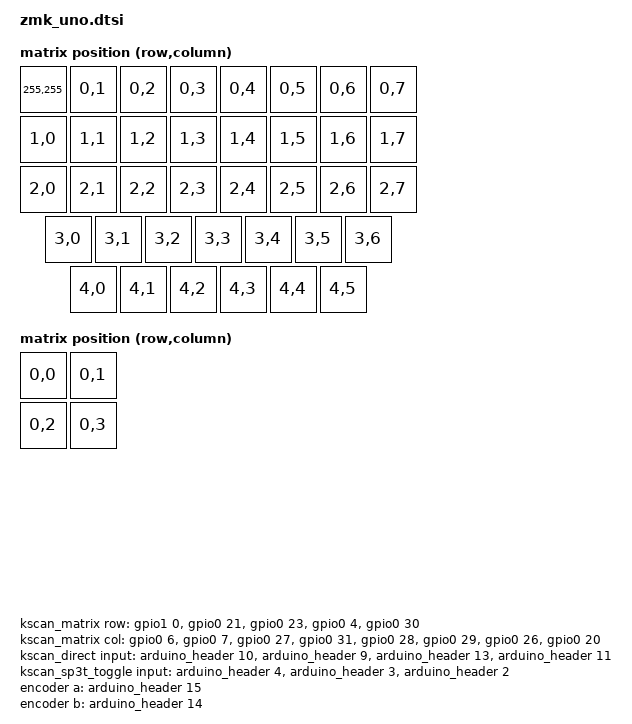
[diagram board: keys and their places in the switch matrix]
/*
 * Copyright (c) 2022 The ZMK Contributors
 *
 * SPDX-License-Identifier: MIT
 */

#include <dt-bindings/led/led.h>
#include <dt-bindings/zmk/matrix_transform.h>
#include "zmk_uno-layouts.dtsi"


&arduino_i2c {
    status = "okay";
};

nice_view_spi: &arduino_spi {
    status = "okay";

    cs-gpios = <&arduino_header 16 GPIO_ACTIVE_HIGH>;

    // Needed so the nice_view shield will enhance the existing node which falls *first*
    // on the bus, properly picking up the first `cs-gpios` specifier.
    ls0xx@0 {
        reg = <0>;
    };

    led_strip: ws2812@0 {
        compatible = "worldsemi,ws2812-spi";

        /* SPI */
        reg = <0>; /* ignored, but necessary for SPI bindings */
        spi-max-frequency = <4000000>;

        /* WS2812 */
        chain-length = <7>; /* 4 underglow + 3 per-key LEDs */
        spi-one-frame = <0x70>;
        spi-zero-frame = <0x40>;

        color-mapping = <LED_COLOR_ID_GREEN LED_COLOR_ID_RED LED_COLOR_ID_BLUE>;
    };
};

/ {
    chosen {
        zmk,backlight = &backlight;
        zmk,underglow = &led_strip;
    };

    // Commented out until we add more powerful power domain support
    // external_power {
        //  compatible = "zmk,ext-power-generic";
        //  init-delay-ms = <200>;
        //  control-gpios = <&arduino_header 1 GPIO_ACTIVE_LOW>;
    // };

    rgb_power {
        compatible = "zmk,ext-power-generic";
        init-delay-ms = <200>;
        control-gpios = <&arduino_header 1 GPIO_ACTIVE_LOW>;
    };

    backlight: gpioleds {
        compatible = "gpio-leds";
        gpio_led_0 {
            gpios = <&arduino_header 12 GPIO_ACTIVE_HIGH>;
        };
    };

    matrix_transform: matrix_transform {
        compatible = "zmk,matrix-transform";
        columns = <8>;
        rows = <5>;
        map = <
        RC(255,255) RC(0,1) RC(0,2) RC(0,3) RC(0,4) RC(0,5) RC(0,6) RC(0,7) 
        RC(1,0) RC(1,1) RC(1,2) RC(1,3) RC(1,4) RC(1,5) RC(1,6) RC(1,7) 
        RC(2,0) RC(2,1) RC(2,2) RC(2,3) RC(2,4) RC(2,5) RC(2,6) RC(2,7) 
        RC(3,0) RC(3,1) RC(3,2) RC(3,3) RC(3,4) RC(3,5) RC(3,6)
        RC(4,0) RC(4,1) RC(4,2) RC(4,3) RC(4,4) RC(4,5) 
        >;
        };

    direct_matrix_transform: direct_matrix_transform {
        compatible = "zmk,matrix-transform";
        rows = <3>;
        columns = <4>;

        map = <
        RC(0,0) RC(0,1)
        RC(0,2) RC(0,3)
        >;
    };

    // kscan_matrix: kscan_matrix {
    //     compatible = "zmk,kscan-gpio-matrix";
    //     wakeup-source;

    //     diode-direction = "col2row";

    //     row-gpios
    //         = <&gpio0 6  (GPIO_ACTIVE_HIGH | GPIO_PULL_DOWN)>
    //         , <&gpio0 7  (GPIO_ACTIVE_HIGH | GPIO_PULL_DOWN)>
    //         , <&gpio0 27 (GPIO_ACTIVE_HIGH | GPIO_PULL_DOWN)>
    //         , <&gpio0 31 (GPIO_ACTIVE_HIGH | GPIO_PULL_DOWN)>
    //         , <&gpio0 28 (GPIO_ACTIVE_HIGH | GPIO_PULL_DOWN)>
    //         , <&gpio0 29 (GPIO_ACTIVE_HIGH | GPIO_PULL_DOWN)>
    //         , <&gpio0 26 (GPIO_ACTIVE_HIGH | GPIO_PULL_DOWN)>
    //         , <&gpio0 20 (GPIO_ACTIVE_HIGH | GPIO_PULL_DOWN)>
    //         ;

    //     col-gpios
    //         = <&gpio1 0  (GPIO_ACTIVE_HIGH)>
    //         , <&gpio0 21 (GPIO_ACTIVE_HIGH)>
    //         , <&gpio0 23 (GPIO_ACTIVE_HIGH)>
    //         , <&gpio0 4  (GPIO_ACTIVE_HIGH)>
    //         , <&gpio0 30 (GPIO_ACTIVE_HIGH)>
    //         ;

    // };
        kscan_matrix: kscan_matrix {
        compatible = "zmk,kscan-gpio-matrix";
        wakeup-source;

        diode-direction = "row2col";

        col-gpios
            = <&gpio0 6  (GPIO_ACTIVE_HIGH | GPIO_PULL_DOWN)>
            , <&gpio0 7  (GPIO_ACTIVE_HIGH | GPIO_PULL_DOWN)>
            , <&gpio0 27 (GPIO_ACTIVE_HIGH | GPIO_PULL_DOWN)>
            , <&gpio0 31 (GPIO_ACTIVE_HIGH | GPIO_PULL_DOWN)>
            , <&gpio0 28 (GPIO_ACTIVE_HIGH | GPIO_PULL_DOWN)>
            , <&gpio0 29 (GPIO_ACTIVE_HIGH | GPIO_PULL_DOWN)>
            , <&gpio0 26 (GPIO_ACTIVE_HIGH | GPIO_PULL_DOWN)>
            , <&gpio0 20 (GPIO_ACTIVE_HIGH | GPIO_PULL_DOWN)>
            ;

        row-gpios
            = <&gpio1 0  (GPIO_ACTIVE_HIGH)>
            , <&gpio0 21 (GPIO_ACTIVE_HIGH)>
            , <&gpio0 23 (GPIO_ACTIVE_HIGH)>
            , <&gpio0 4  (GPIO_ACTIVE_HIGH)>
            , <&gpio0 30 (GPIO_ACTIVE_HIGH)>
            ;

    };


    kscan_direct: kscan_direct {
        compatible = "zmk,kscan-gpio-direct";
        wakeup-source;

        input-gpios
        = <&arduino_header 10 (GPIO_ACTIVE_LOW | GPIO_PULL_UP)>
        , <&arduino_header 9  (GPIO_ACTIVE_LOW | GPIO_PULL_UP)>
        , <&arduino_header 13 (GPIO_ACTIVE_LOW | GPIO_PULL_UP)>
        , <&arduino_header 11 (GPIO_ACTIVE_LOW | GPIO_PULL_UP)>
        ;

    };

    kscan_sp3t_toggle: kscan_sp3t_toggle {
        compatible = "zmk,kscan-gpio-direct";
        toggle-mode;

        input-gpios
        = <&arduino_header 4 GPIO_ACTIVE_LOW>
        , <&arduino_header 3 GPIO_ACTIVE_LOW>
        , <&arduino_header 2 GPIO_ACTIVE_LOW>
        ;
    };

    encoder: encoder {
        steps = <80>;
        compatible = "alps,ec11";
        a-gpios = <&arduino_header 15 GPIO_PULL_UP>;
        b-gpios = <&arduino_header 14 GPIO_PULL_UP>;
    };
};

&matrix_physical_layout {
    kscan = <&kscan_matrix>;
    transform = <&matrix_transform>;
};

&direct_physical_layout {
    kscan = <&kscan_direct>;
    transform = <&direct_matrix_transform>;
};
